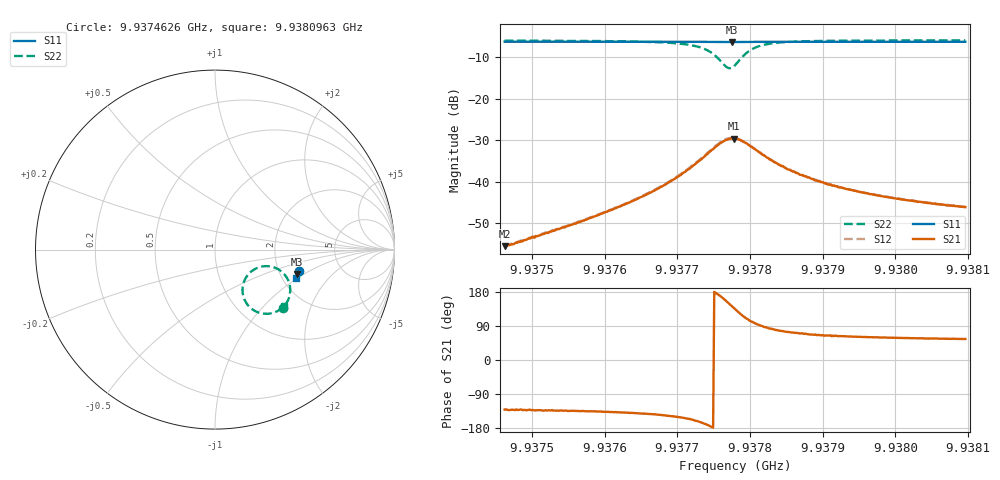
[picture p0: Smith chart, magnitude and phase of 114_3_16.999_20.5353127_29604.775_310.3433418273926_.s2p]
#  HZ  S  RI  R  50.00
! Rohde & Schwarz Vector Network Analyzer
! Rohde-Schwarz,ZNB20-2Port,1311601062101988,3.16
! Created: UTC 3/20/2024, 10:57:10 PM
! freq[Hz]  re:S11  im:S11  re:S21  im:S21  re:S12  im:S12  re:S22  im:S22
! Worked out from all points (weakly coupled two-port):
!   401 points, 9.9374626 GHz to 9.9380963 GHz, reference 50 ohm
!   highest |S21| = -29.62 dB at 9.9377779 GHz (marker M1); lowest = -55.5 dB at 9.9374626 GHz (marker M2)
!   lowest |S11| = -6.4 dB at 9.9377747 GHz (marker M3), VSWR 2.83, Z = 124 - j43.4 ohm
!   |S11| at or under -10 dB: nowhere
!   |S22| runs from -12.7 to -6.0 dB; largest |S21 - S12| = 0.0016
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9.9374626e9  0.4684 -0.1169  -0.0011 -0.00127  -0.00114 -0.00126  0.377 -0.3228
9.93747211e9  0.4682 -0.1176  -0.00116 -0.00133  -0.00118 -0.00135  0.3758 -0.3239
9.93756875e9  0.4659 -0.1241  -0.00233 -0.00238  -0.00242 -0.0024  0.3602 -0.3354
9.9376242e9  0.4648 -0.128  -0.00389 -0.00343  -0.00399 -0.0034  0.3442 -0.3444
9.9376749e9  0.4632 -0.1314  -0.00681 -0.00487  -0.00705 -0.00484  0.3158 -0.3545
9.9377145e9  0.4616 -0.1343  -0.0126 -0.00597  -0.0129 -0.0057  0.2661 -0.3563
9.93773827e9  0.4601 -0.1359  -0.02 -0.00405  -0.0206 -0.00368  0.2076 -0.3321
9.93774936e9  0.4591 -0.1364  -0.0246 -0.000589  -0.0255 0.00017  0.1738 -0.296
9.93776045e9  0.4583 -0.1362  -0.0286 0.00665  -0.0292 0.00788  0.1534 -0.2311
9.93776837e9  0.4579 -0.1358  -0.0288 0.014  -0.0289 0.0155  0.1644 -0.1715
9.93777471e9  0.4579 -0.1356  -0.0261 0.0202  -0.026 0.0216  0.195 -0.1281
9.93777787e9  0.4579 -0.1355  -0.0242 0.0225  -0.0236 0.024  0.2162 -0.1119
9.93777946e9  0.4581 -0.1353  -0.023 0.0236  -0.0223 0.0249  0.2276 -0.1056
9.93778738e9  0.4587 -0.1353  -0.016 0.027  -0.0151 0.0278  0.2873 -0.0919
9.93779689e9  0.4593 -0.1358  -0.00843 0.0269  -0.00754 0.0272  0.3462 -0.1062
9.93781431e9  0.46 -0.1372  -0.000475 0.0222  0.000328 0.0222  0.4007 -0.1574
9.93782699e9  0.4601 -0.1384  0.00224 0.0184  0.0026 0.0185  0.4145 -0.1893
9.93785075e9  0.4597 -0.1404  0.00392 0.0138  0.0043 0.0137  0.4193 -0.23
9.93788561e9  0.4591 -0.1432  0.00423 0.00989  0.00434 0.01  0.4142 -0.2624
9.93792997e9  0.4581 -0.1464  0.00379 0.00736  0.004 0.00734  0.4059 -0.2842
9.93799175e9  0.4566 -0.1506  0.00336 0.00551  0.00348 0.0055  0.3966 -0.3009
9.93809631e9  0.4538 -0.1575  0.00279 0.00408  0.00293 0.00406  0.385 -0.3165
